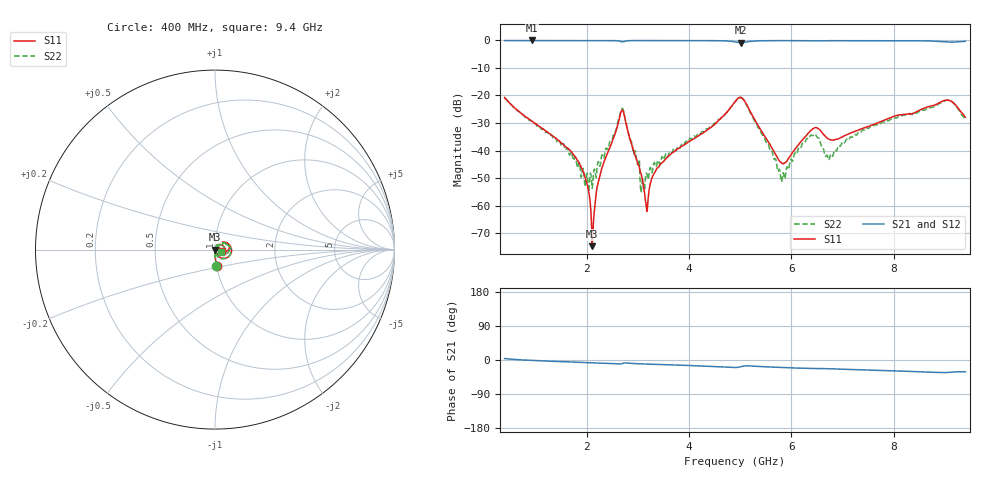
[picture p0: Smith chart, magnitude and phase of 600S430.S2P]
!  American Technical Ceramics  Date:  12/2/2005
!  One Norden Lane
!  Huntington Station,  NY.  11746-2102
!  Tel:  (631) 622-4700  Fax:  (631) 622-4748
!  Part Number  600S430  Mounting Orientation: Horizontal
!  Description: Ultra Low ESR Microwave capacitors
!  Application: Coupling, Bypass, Tuning, DC Block
!  Filters, Matching
# GHZ S DB R 50
! Freq  |S11|  S11 Ph  |S21|  S21 Ph  |S12|  S12 Ph  |S22|  S22 Ph
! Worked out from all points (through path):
!   801 points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, 400 MHz to 9.4 GHz, reference 50 ohm
!   highest |S21| = -0.02 dB at 940 MHz (marker M1); lowest = -0.9 dB at 5.013 GHz (marker M2)
!   group delay of S21, straight-line fit = 10.4 ps
!   lowest |S11| = -74.7 dB at 2.11 GHz (marker M3), VSWR 1.00, Z = 50 - j0.0138 ohm
!   |S11| at or under -10 dB: start of sweep to end of sweep
!   |S22| runs from -55.3 to -20.8 dB; largest |S21 - S12| = 0.0022
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0.4  -20.75 -84.7  -0.06 3.9  -0.05 3.9  -20.84 -85.2
0.94  -29.44 -88.9  -0.02 -1.2  -0.02 -1.2  -29.55 -89.5
1.593  -38.67 -89.6  -0.03 -4.6  -0.02 -4.7  -39.81 -82.7
1.908  -46.56 -92.1  -0.03 -6.1  -0.02 -6.1  -48.97 -50.2
2.02  -52.84 -91.7  -0.03 -6.6  -0.03 -6.7  -49.58 -41.1
2.11  -74.74 -48.9  -0.03 -7.0  -0.03 -7.1  -53.74 4.0
2.144  -63.71 62.8  -0.03 -7.2  -0.03 -7.2  -47.12 31.0
2.211  -52.90 79.7  -0.04 -7.5  -0.03 -7.6  -45.36 50.5
2.279  -47.75 81.4  -0.04 -7.9  -0.03 -7.9  -43.91 57.2
2.684  -25.49 14.6  -0.49 -10.0  -0.49 -10.0  -24.96 5.5
2.988  -43.97 -97.0  -0.05 -9.8  -0.05 -9.8  -44.74 -62.7
3.089  -50.34 -61.8  -0.05 -10.3  -0.04 -10.3  -50.85 0.9
3.156  -58.78 -33.0  -0.05 -10.6  -0.04 -10.7  -49.13 36.0
3.404  -46.04 65.3  -0.05 -11.8  -0.04 -11.8  -43.61 50.5
4.9  -22.24 26.6  -0.53 -19.8  -0.53 -19.9  -22.28 23.3
5.013  -20.68 -9.3  -0.87 -17.7  -0.86 -17.7  -20.93 -13.3
5.834  -44.80 -15.5  -0.08 -19.8  -0.08 -19.9  -48.41 -12.4
6.408  -32.30 27.3  -0.17 -22.6  -0.17 -22.7  -34.55 14.5
6.768  -36.12 13.0  -0.10 -23.2  -0.11 -23.3  -41.50 29.2
7.904  -28.32 48.6  -0.09 -28.2  -0.09 -28.3  -29.21 47.7
9.051  -21.68 14.4  -0.57 -32.9  -0.57 -33.0  -21.69 3.7
9.4  -27.90 -10.8  -0.33 -31.1  -0.33 -31.2  -29.06 -20.8
